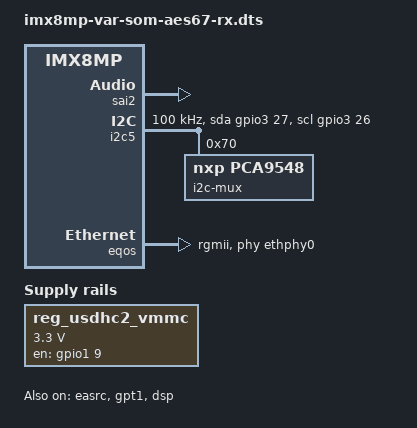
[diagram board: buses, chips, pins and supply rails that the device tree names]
/*
* Copyright AxisB Inc 2026
* All rights reserved
*
* Device tree for AES67 TDM-8 RX capture
* - SAI2 receives an 8-slot TDM stream (slots 0-7) from an external master
* - SAI2 is clock slave (external BCLK/FS), RX synchronous
* - eqos used for LARA/network
*/

#include "imx8mp-var-som-symphony.dts"

/* Enable easrc */
&easrc {
	fsl,asrc-rate  = <48000>;
	status = "okay";
};

/* AVB HW timer */
&gpt1 {
	compatible = "fsl,avb-gpt";
	timer-channel = <1>; /* Use output compare channel 1*/
	sw-recovery = <0>; /* Use SW recovery mode for STMMAC (eth port 0) */
	prescale = <1>;
	domain = <0>;

	clocks = <&clk IMX8MP_CLK_GPT1_ROOT>,
		 <&clk IMX8MP_CLK_GPT1_ROOT>,
		 <&clk IMX8MP_AUDIO_PLL1>;
	clock-names = "ipg", "per", "audio_pll";

	/* Make the GPT clk root derive from the audio PLL*/
	assigned-clocks = <&clk IMX8MP_CLK_GPT1>;
	assigned-clock-parents = <&clk IMX8MP_AUDIO_PLL1_OUT>;
	assigned-clock-rates = <0>;

	gpt1_capin1_sel = <&gpr 0x4 2>;

	status = "okay";
};

&iomuxc {
	pinctrl_i2c5: i2c5grp {
		fsl,pins = <
			MX8MP_IOMUXC_HDMI_DDC_SCL__I2C5_SCL				0x400001c2
			MX8MP_IOMUXC_HDMI_DDC_SDA__I2C5_SDA				0x400001c2
		>;
	};

	pinctrl_sai2: sai2grp {
		fsl,pins = <
			MX8MP_IOMUXC_SAI2_MCLK__AUDIOMIX_SAI2_MCLK			    0xd6
			MX8MP_IOMUXC_SAI2_TXFS__AUDIOMIX_SAI2_TX_SYNC			0xd6
			MX8MP_IOMUXC_SAI2_TXC__AUDIOMIX_SAI2_TX_BCLK			0xd6
			MX8MP_IOMUXC_SAI2_TXD0__AUDIOMIX_SAI2_TX_DATA00			0xd6
			MX8MP_IOMUXC_SAI2_RXD0__AUDIOMIX_SAI2_RX_DATA00 		0xd6
			MX8MP_IOMUXC_SAI2_RXC__AUDIOMIX_SAI2_RX_BCLK			0xd6
			MX8MP_IOMUXC_SAI2_RXFS__AUDIOMIX_SAI2_RX_SYNC			0xd6
		>;
	};

	pinctrl_usdhc2_gpio: usdhc2grp-gpio {
		fsl,pins = <
			MX8MP_IOMUXC_GPIO1_IO14__GPIO1_IO14				0x1c4
			MX8MP_IOMUXC_GPIO1_IO09__GPIO1_IO09				0x10  /* SD card power control */
			/* GPIO4_IO22 (SAI2_RXC) now used for audio, not SD card regulator */
			/* MX8MP_IOMUXC_SAI2_RXC__GPIO4_IO22				0x10 */
			MX8MP_IOMUXC_SD2_CD_B__GPIO2_IO12				0xc0
		>;
	};
};

/*   Enable SAI2 for TDM-8 RX capture (external BCLK/FS)                    */
&sai2 {
	status = "okay";
	#sound-dai-cells = <0>;
	pinctrl-names = "default";
	pinctrl-0 = <&pinctrl_sai2>;

	/* External clocks from TDM master */
	clocks = <&audio_blk_ctrl IMX8MP_CLK_AUDIO_BLK_CTRL_SAI2_IPG>, <&clk IMX8MP_CLK_DUMMY>,
		 <&audio_blk_ctrl IMX8MP_CLK_AUDIO_BLK_CTRL_SAI2_MCLK1>, <&clk IMX8MP_CLK_DUMMY>,
		 <&clk IMX8MP_CLK_DUMMY>;
	clock-names = "bus", "mclk0", "mclk1", "mclk2", "mclk3";

		/* Standard DMA for SAI capture/playback */
		dmas = <&sdma2 2 24 0>, <&sdma2 3 24 0>; /* 24 = IMX_DMATYPE_SAI */
		dma-names = "rx", "tx";

		/* Clocking mode:
		 * We use external BCLK/FS on the RX pins (RXC/RXFS).
		 * Tell the driver to sync TX to RX so both directions follow RX clocks.
		 */
		fsl,sai-synchronous-rx;
};

/* ------------------------------------------------------------------------ */
/* Dummy sound codec for TDM-8 capture path */
/ {

	dummy_codec: dummy-codec {
		compatible = "linux,dummy-codec";
		#sound-dai-cells = <0>;
	};

	/* Override SD card regulator to use GPIO1_IO09 instead of GPIO4_IO22
	 * (GPIO4_IO22/SAI2_RXC is now used for audio)
	 */
	reg_usdhc2_vmmc: regulator-usdhc2-vmmc {
		compatible = "regulator-fixed";
		regulator-name = "VSD_3V3";
		regulator-min-microvolt = <3300000>;
		regulator-max-microvolt = <3300000>;
		gpio = <&gpio1 9 GPIO_ACTIVE_HIGH>;  /* Changed from GPIO4_IO22 */
		enable-active-high;
		startup-delay-us = <100>;
		off-on-delay-us = <12000>;
	};

	/* SAI2 RX: TDM-8 capture from external master (BCLK/FS provided externally) */
	sound-amp-0 {
		compatible = "simple-audio-card";
		simple-audio-card,name = "AES67-TDM8-SAI2-RX";
		/* TDM uses DSP-A framing (single-bit frame-sync pulse) */
		simple-audio-card,format = "dsp_a";
	/*
	 * External master provides BCLK/FS.
	 * In simple-audio-card bindings, setting bitclock-master/frame-master
	 * to the *codec subnode* makes the CPU DAI a slave (CBP/CFP).
	 */
		simple-audio-card,bitclock-master = <&rpi_codec>;
		simple-audio-card,frame-master = <&rpi_codec>;
		status = "okay";

		rpi_cpu: simple-audio-card,cpu {
			sound-dai = <&sai2>;
			dai-tdm-slot-num = <8>;          /* TDM-8: 8 slots per frame */
			dai-tdm-slot-width = <32>;       /* 32 bits per slot */
			dai-tdm-slot-rx-mask = <0xff>;   /* Capture slots 0-7 */
		};

		rpi_codec: simple-audio-card,codec {
			sound-dai = <&dummy_codec>;
		};
	};
};

/* ------------------------------------------------------------------------ */
/*   Enable I2C5 via PCA9548 I2C Multiplexer                              */
&i2c5 {
	status = "okay";
	pinctrl-names = "default";
	pinctrl-0 = <&pinctrl_i2c5>;
	clock-frequency = <100000>;  /* 100kHz for reliability */
	scl-gpios = <&gpio3 26 GPIO_ACTIVE_HIGH>;
	sda-gpios = <&gpio3 27 GPIO_ACTIVE_HIGH>;

	/* -------------------------------------------------------------------- */
	/* PCA9548 I2C Multiplexer - 8 channels                                */
	/* -------------------------------------------------------------------- */
	i2c-mux@70 {
		compatible = "nxp,pca9548";
		#address-cells = <1>;
		#size-cells = <0>;
		reg = <0x70>;
	};
};

&dsp {
	compatible = "fsl,imx8mp-hifi4";
	reg = <0x0 0x3B6E8000 0x0 0x88000>;
	pinctrl-names = "default";
	pinctrl-0 = <&pinctrl_uart4>;
	clocks = <&audio_blk_ctrl IMX8MP_CLK_AUDIO_BLK_CTRL_OCRAMA_IPG>,
			<&audio_blk_ctrl IMX8MP_CLK_AUDIO_BLK_CTRL_DSP_ROOT>,
			<&audio_blk_ctrl IMX8MP_CLK_AUDIO_BLK_CTRL_DSPDBG_ROOT>,
			<&audio_blk_ctrl IMX8MP_CLK_AUDIO_BLK_CTRL_SDMA3_ROOT>,
			<&audio_blk_ctrl IMX8MP_CLK_AUDIO_BLK_CTRL_ASRC_IPG>,
			<&clk IMX8MP_CLK_UART4_ROOT>;
	clock-names = "ocram", "core", "debug",
			"per_clk1", "per_clk2", "per_clk3",
			"per_clk5", "per_clk7";
	firmware-name = "imx/dsp/hifi4.bin";
	power-domains = <&audiomix_pd>;
	mbox-names = "tx0", "rx0", "rxdb0";
	mboxes = <&mu2 0 0>,
			<&mu2 1 0>,
			<&mu2 3 0>;
	memory-region = <&dsp_vdev0buffer>, <&dsp_vdev0vring0>,
				<&dsp_vdev0vring1>, <&dsp_reserved>;
	syscon = <&audio_blk_ctrl>;
	status = "okay";
};

&uart4 {
	status = "disabled";
};

&wm8904 {
	status = "disabled";
};

&pcie {
	status = "disabled";
};

&pcie_ep {
	status = "disabled";
};

&sound_hdmi {
	status = "disabled";
};

&aud2htx {
	status = "disabled";
};

&flexcan2 {
	status = "disabled";
};

&irqsteer_hdmi {
	status = "disabled";
};

&hdmi_blk_ctrl {
	status = "disabled";
};

&hdmi_pavi {
	status = "disabled";
};

&hdmi {
	status = "disabled";
};

&hdmiphy {
	status = "disabled";
};

/* MIPI-DSI */
&lcdif1 {
	status = "disabled";
};

/* LVDS */
&lcdif2 {
	status = "disabled";
};

/* HDMI */
&lcdif3 {
	status = "disabled";
};

&ldb {
	status = "disabled";
};

&ldb_phy {
	status = "disabled";
};

&mipi_dsi {
	status = "disabled";
};

/* configure eqos for priority queueing and DMA channel mapping */
&eqos {
	phy-mode = "rgmii";
	phy-handle = <&ethphy0>;
	snps,force_thresh_dma_mode;
	snps,mtl-tx-config = <&mtl_tx_setup>;
	snps,mtl-rx-config = <&mtl_rx_setup>;
	status = "okay";

	mtl_tx_setup: tx-queues-config {
		snps,tx-queues-to-use = <3>;
		snps,tx-sched-sp;

		queue0 {
			snps,dcb-algorithm;
			snps,priority = <0x1>;
		};

		queue1 {
			snps,dcb-algorithm;
			snps,priority = <0x2>;
		};

		queue2 {
			snps,dcb-algorithm;
			snps,priority = <0xFC>;
		};
	};

	mtl_rx_setup: rx-queues-config {
		snps,rx-queues-to-use = <3>;
		snps,rx-sched-sp;

		queue0 {
			snps,dcb-algorithm;
			snps,priority = <0x1>;
			snps,map-to-dma-channel = <0>;
		};

		queue1 {
			snps,dcb-algorithm;
			snps,priority = <0x2>;
			snps,map-to-dma-channel = <1>;
		};

		queue2 {
			snps,dcb-algorithm;
			snps,priority = <0xFC>;
			snps,map-to-dma-channel = <2>;
		};
	};
};

&reg_fec_phy_vsel {
	/delete-property/ enable-active-high;
	enable-active-low;
};

/* FEC disabled (no-fec equivalent) */
&fec {
	status = "disabled";
};

/* Also limit the PHY to 100 Mbps */
&ethphy1 {
	max-speed = <100>;
};
